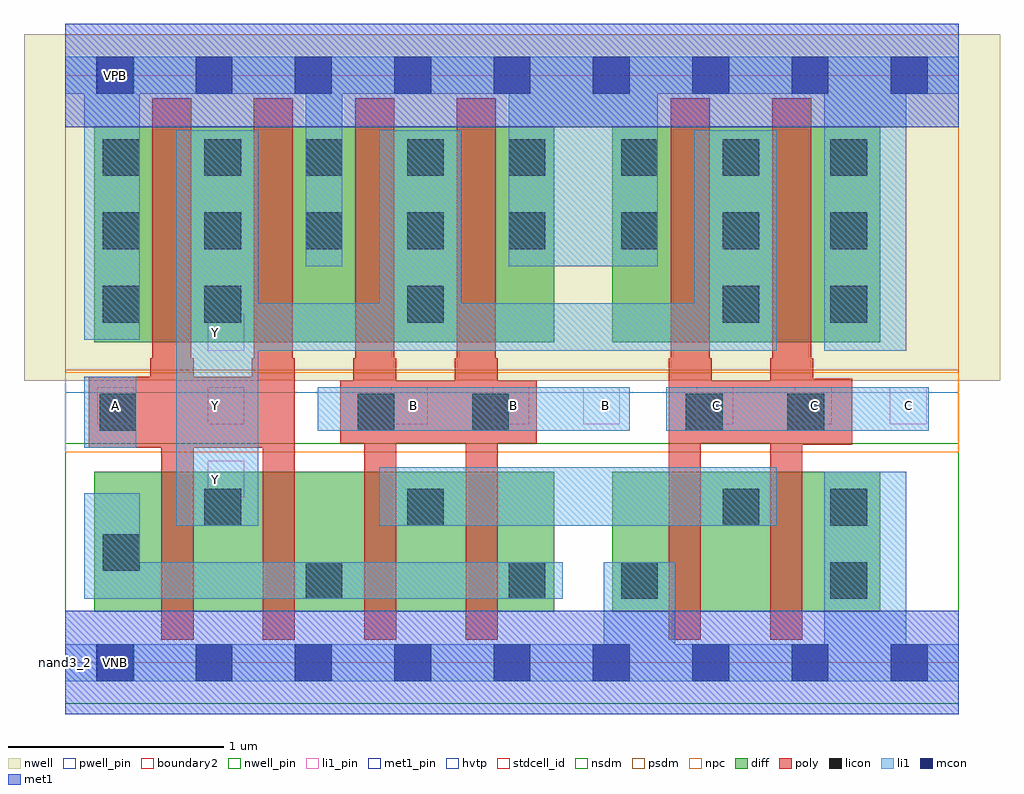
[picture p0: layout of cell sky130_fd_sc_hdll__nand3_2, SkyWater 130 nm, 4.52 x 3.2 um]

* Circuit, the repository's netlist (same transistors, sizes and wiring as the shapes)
* Copyright 2020 The SkyWater PDK Authors
*
* Licensed under the Apache License, Version 2.0 (the "License");
* you may not use this file except in compliance with the License.
* You may obtain a copy of the License at
*
*     https://www.apache.org/licenses/LICENSE-2.0
*
* Unless required by applicable law or agreed to in writing, software
* distributed under the License is distributed on an "AS IS" BASIS,
* WITHOUT WARRANTIES OR CONDITIONS OF ANY KIND, either express or implied.
* See the License for the specific language governing permissions and
* limitations under the License.
*
* SPDX-License-Identifier: Apache-2.0

.SUBCKT sky130_fd_sc_hdll__nand3_2 A B C VGND VNB VPB VPWR Y
*.PININFO A:I B:I C:I VGND:I VNB:I VPB:I VPWR:I Y:O
MMP0 Y A VPWR VPB sky130_fd_pr__pfet_01v8_hvt m=2 w=1.0U l=0.18U mult=1 sa=0.265
+ sb=0.265 sd=0.28 area=0.063 perim=1.14
MMP1 Y B VPWR VPB sky130_fd_pr__pfet_01v8_hvt m=2 w=1.0U l=0.18U mult=1 sa=0.265
+ sb=0.265 sd=0.28 area=0.063 perim=1.14
MMP2 Y C VPWR VPB sky130_fd_pr__pfet_01v8_hvt m=2 w=1.0U l=0.18U mult=1 sa=0.265
+ sb=0.265 sd=0.28 area=0.063 perim=1.14
MMN0 Y A sndA VNB sky130_fd_pr__nfet_01v8 m=2 w=0.65U l=0.15U mult=1 sa=0.265 sb=0.265
+ sd=0.28 area=0.063 perim=1.14
MMN1 sndA B sndB VNB sky130_fd_pr__nfet_01v8 m=2 w=0.65U l=0.15U mult=1 sa=0.265
+ sb=0.265 sd=0.28 area=0.063 perim=1.14
MMN2 sndB C VGND VNB sky130_fd_pr__nfet_01v8 m=2 w=0.65U l=0.15U mult=1 sa=0.265
+ sb=0.265 sd=0.28 area=0.063 perim=1.14
.ENDS sky130_fd_sc_hdll__nand3_2

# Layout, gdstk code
import gdstk
lib = gdstk.Library(unit=1e-6, precision=1e-09)
def R(c, l, rs):  # rectangles x0, y0, x1, y1
    for r in rs: c.add(gdstk.rectangle(r[:2], r[2:], *l))
def A(c, l, x, y, w, h, nx, ny, dx, dy):  # array of equal rectangles
    R(c, l, [(x+i*dx, y+j*dy, x+i*dx+w, y+j*dy+h) for i in range(nx) for j in range(ny)])
def P(c, l, *ps):  # polygons
    for p in ps: c.add(gdstk.Polygon(p, *l))
nwell_pin = (64, 16)
nwell = (64, 20)
diff = (65, 20)
poly = (66, 20)
licon = (66, 44)
li1_pin = (67, 16)
li1 = (67, 20)
mcon = (67, 44)
met1_pin = (68, 16)
met1 = (68, 20)
hvtp = (78, 44)
stdcell_id = (81, 4)
nsdm = (93, 44)
psdm = (94, 20)
npc = (95, 20)
pwell_pin = (122, 16)
boundary2 = (236, 0)

sky130_fd_sc_hdll__nand3 = lib.new_cell('sky130_fd_sc_hdll__nand3_2')
R(sky130_fd_sc_hdll__nand3, nwell_pin, [(0.15,2.635,0.32,2.805)])
R(sky130_fd_sc_hdll__nand3, nwell, [(-0.19,1.305,4.33,2.91)])
R(sky130_fd_sc_hdll__nand3, diff, [(0.135,0.235,2.265,0.885), (2.535,0.235,3.775,0.885), (0.135,1.485,2.265,2.485), (2.535,1.485,3.775,2.485)])
P(sky130_fd_sc_hdll__nand3, poly, [(1.065,1.41),(1.055,1.41),(1.055,2.615),(0.875,2.615),(0.875,1.41),(0.865,1.41),(0.865,1.325),(0.595,1.325),(0.595,1.41),(0.585,1.41),(0.585,2.615),(0.405,2.615),(0.405,1.41),(0.395,1.41),(0.395,1.325),(0.11,1.325),(0.11,0.995),(0.445,0.995),(0.445,0.105),(0.595,0.105),(0.595,0.995),(0.915,0.995),(0.915,0.105),(1.065,0.105)],
  [(2.185,1.305),(2.005,1.305),(2.005,1.41),(1.995,1.41),(1.995,2.615),(1.815,2.615),(1.815,1.41),(1.805,1.41),(1.805,1.305),(1.535,1.305),(1.535,1.41),(1.525,1.41),(1.525,2.615),(1.345,2.615),(1.345,1.41),(1.335,1.41),(1.335,1.305),(1.275,1.305),(1.275,1.015),(1.385,1.015),(1.385,0.105),(1.535,0.105),(1.535,1.015),(1.855,1.015),(1.855,0.105),(2.005,0.105),(2.005,1.015),(2.185,1.015)],
  [(3.645,1.315),(3.465,1.315),(3.465,1.41),(3.455,1.41),(3.455,2.615),(3.275,2.615),(3.275,1.41),(3.265,1.41),(3.265,1.305),(2.995,1.305),(2.995,1.41),(2.985,1.41),(2.985,2.615),(2.805,2.615),(2.805,1.41),(2.795,1.41),(2.795,0.105),(2.945,0.105),(2.945,1.015),(3.265,1.015),(3.265,0.105),(3.415,0.105),(3.415,1.01),(3.645,1.01)])
A(sky130_fd_sc_hdll__nand3, licon, 3.045, 1.575, 0.17, 0.17, 1, 3, 0, 0.34)
A(sky130_fd_sc_hdll__nand3, licon, 3.545, 1.575, 0.17, 0.17, 1, 3, 0, 0.34)
A(sky130_fd_sc_hdll__nand3, licon, 0.175, 1.915, 0.17, 0.17, 5, 2, 0.47, 0.34)
R(sky130_fd_sc_hdll__nand3, licon, [(1.115,0.295,1.285,0.465), (2.055,0.295,2.225,0.465), (2.575,0.295,2.745,0.465), (3.545,0.295,3.715,0.465), (0.175,0.425,0.345,0.595), (0.645,0.635,0.815,0.805), (1.585,0.635,1.755,0.805), (3.045,0.635,3.215,0.805), (3.545,0.635,3.715,0.805), (0.16,1.075,0.33,1.245), (1.355,1.075,1.525,1.245), (1.885,1.075,2.055,1.245), (2.875,1.075,3.045,1.245), (3.345,1.075,3.515,1.245), (0.175,1.575,0.345,1.745), (0.645,1.575,0.815,1.745), (1.585,1.575,1.755,1.745), (2.575,1.915,2.745,2.085), (2.575,2.255,2.745,2.425)])
A(sky130_fd_sc_hdll__nand3, li1_pin, 0.66, 0.765, 0.17, 0.17, 1, 3, 0, 0.34)
R(sky130_fd_sc_hdll__nand3, li1_pin, [(0.15,1.105,0.32,1.275), (1.51,1.105,1.68,1.275), (1.98,1.105,2.15,1.275), (2.4,1.105,2.57,1.275), (2.925,1.105,3.095,1.275), (3.38,1.105,3.55,1.275), (3.82,1.105,3.99,1.275)])
R(sky130_fd_sc_hdll__nand3, li1, [(1.455,0.635,3.295,0.905), (0.09,0.995,0.33,1.325), (1.17,1.075,2.615,1.275), (2.785,1.075,4,1.275)])
P(sky130_fd_sc_hdll__nand3, li1, [(4.14,0.085),(3.895,0.085),(3.895,0.885),(3.515,0.885),(3.515,0.085),(2.825,0.085),(2.825,0.465),(2.495,0.465),(2.495,0.085),(0,0.085),(0,-0.085),(4.14,-0.085)],
  [(4.14,2.805),(0,2.805),(0,2.635),(0.09,2.635),(0.09,1.495),(0.345,1.495),(0.345,2.635),(1.115,2.635),(1.115,1.835),(1.285,1.835),(1.285,2.635),(2.055,2.635),(2.055,1.835),(2.745,1.835),(2.745,2.635),(3.515,2.635),(3.515,1.445),(3.895,1.445),(3.895,2.635),(4.14,2.635)],
  [(2.305,0.465),(0.345,0.465),(0.345,0.785),(0.09,0.785),(0.09,0.295),(2.305,0.295)],
  [(3.295,2.465),(2.915,2.465),(2.915,1.665),(1.835,1.665),(1.835,2.465),(1.455,2.465),(1.455,1.665),(0.895,1.665),(0.895,2.465),(0.515,2.465),(0.515,0.635),(0.895,0.635),(0.895,1.445),(3.295,1.445)])
A(sky130_fd_sc_hdll__nand3, mcon, 0.145, -0.085, 0.17, 0.17, 9, 2, 0.46, 2.72)
R(sky130_fd_sc_hdll__nand3, met1_pin, [(0.15,-0.085,0.32,0.085), (0.15,2.635,0.32,2.805)])
R(sky130_fd_sc_hdll__nand3, met1, [(0,-0.24,4.14,0.24), (0,2.48,4.14,2.96)])
R(sky130_fd_sc_hdll__nand3, hvtp, [(0,1.25,4.14,2.72)])
R(sky130_fd_sc_hdll__nand3, stdcell_id, [(0,0,4.14,2.72)])
R(sky130_fd_sc_hdll__nand3, nsdm, [(0,-0.19,4.14,1.015)])
R(sky130_fd_sc_hdll__nand3, psdm, [(0,1.355,4.14,2.91)])
R(sky130_fd_sc_hdll__nand3, npc, [(0,0.975,4.14,1.345)])
R(sky130_fd_sc_hdll__nand3, pwell_pin, [(0.15,-0.085,0.32,0.085)])
R(sky130_fd_sc_hdll__nand3, boundary2, [(0,0,4.14,2.72)])
sky130_fd_sc_hdll__nand3.add(gdstk.Label('A', (0.235,1.19), layer=67, texttype=5))
sky130_fd_sc_hdll__nand3.add(gdstk.Label('Y', (0.695,0.85), layer=67, texttype=5))
sky130_fd_sc_hdll__nand3.add(gdstk.Label('Y', (0.695,1.19), layer=67, texttype=5))
sky130_fd_sc_hdll__nand3.add(gdstk.Label('Y', (0.695,1.53), layer=67, texttype=5))
sky130_fd_sc_hdll__nand3.add(gdstk.Label('B', (2.505,1.19), layer=67, texttype=5))
sky130_fd_sc_hdll__nand3.add(gdstk.Label('B', (1.615,1.19), layer=67, texttype=5))
sky130_fd_sc_hdll__nand3.add(gdstk.Label('B', (2.075,1.19), layer=67, texttype=5))
sky130_fd_sc_hdll__nand3.add(gdstk.Label('C', (3.47,1.19), layer=67, texttype=5))
sky130_fd_sc_hdll__nand3.add(gdstk.Label('C', (3.015,1.19), layer=67, texttype=5))
sky130_fd_sc_hdll__nand3.add(gdstk.Label('C', (3.905,1.19), layer=67, texttype=5))
sky130_fd_sc_hdll__nand3.add(gdstk.Label('VNB', (0.235,0), layer=64, texttype=59))
sky130_fd_sc_hdll__nand3.add(gdstk.Label('VPB', (0.235,2.72), layer=64, texttype=5))
sky130_fd_sc_hdll__nand3.add(gdstk.Label('VGND', (0.23,0), layer=68, texttype=5))
sky130_fd_sc_hdll__nand3.add(gdstk.Label('VPWR', (0.23,2.72), layer=68, texttype=5))
sky130_fd_sc_hdll__nand3.add(gdstk.Label('nand3_2', (0,0), layer=83, texttype=44))

lib.write_gds('sky130_fd_sc_hdll__nand3_2.gds')
